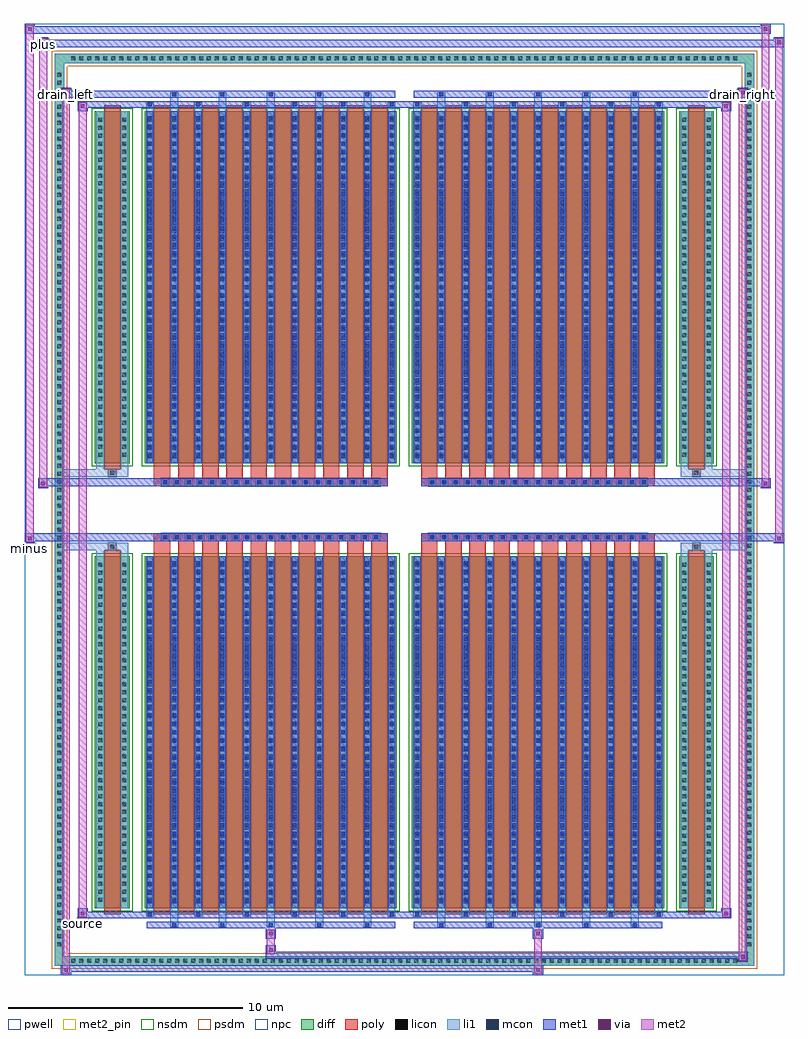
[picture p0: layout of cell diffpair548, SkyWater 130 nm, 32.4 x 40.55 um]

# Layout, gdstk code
import gdstk
lib = gdstk.Library(unit=1e-6, precision=5e-09)
def R(c, l, rs):  # rectangles x0, y0, x1, y1
    for r in rs: c.add(gdstk.rectangle(r[:2], r[2:], *l))
def A(c, l, x, y, w, h, nx, ny, dx, dy):  # array of equal rectangles
    R(c, l, [(x+i*dx, y+j*dy, x+i*dx+w, y+j*dy+h) for i in range(nx) for j in range(ny)])
def P(c, l, *ps):  # polygons
    for p in ps: c.add(gdstk.Polygon(p, *l))
pwell = (64, 44)
diff = (65, 20)
poly = (66, 20)
licon = (66, 44)
li1 = (67, 20)
mcon = (67, 44)
met1 = (68, 20)
via = (68, 44)
met2_pin = (69, 16)
met2 = (69, 20)
nsdm = (93, 44)
psdm = (94, 20)
npc = (95, 20)

diffpair548 = lib.new_cell('diffpair548')
R(diffpair548, pwell, [(-16.18,-19.84,16.18,20.71), (-13.5,-18.03,-0.01,-0.805), (0.01,-18.03,13.5,-0.805), (-13.5,0.805,-0.01,18.03), (0.01,0.805,13.5,18.03)])
A(diffpair548, diff, -14.315, -19.44, 0.41, 0.41, 84, 2, 0.34, 38.47)
A(diffpair548, diff, -14.91, -18.735, 0.41, 0.41, 1, 110, 0, 0.34)
A(diffpair548, diff, 14.5, -18.735, 0.41, 0.41, 1, 110, 0, 0.34)
R(diffpair548, diff, [(-14.315,-19.44,14.315,-19.03), (-14.91,-18.735,-14.5,18.735), (14.5,-18.735,14.91,18.735), (-13.19,-16.985,-11.71,-1.985), (-11.07,-16.985,-0.32,-1.985), (0.32,-16.985,11.07,-1.985), (11.71,-16.985,13.19,-1.985), (-13.19,1.985,-11.71,16.985), (-11.07,1.985,-0.32,16.985), (0.32,1.985,11.07,16.985), (11.71,1.985,13.19,16.985), (-14.315,19.03,14.315,19.44)])
P(diffpair548, diff, [(14.91,19.44),(-14.91,19.44),(-14.91,-19.03),(-14.5,-19.03),(-14.5,19.03),(14.5,19.03),(14.5,-19.03),(-14.5,-19.03),(-14.91,-19.03),(-14.91,-19.44),(14.91,-19.44)])
A(diffpair548, poly, -10.68, -17.235, 0.7, 15.5, 10, 2, 1.03, 18.97)
A(diffpair548, poly, 0.71, -17.235, 0.7, 15.5, 10, 2, 1.03, 18.97)
A(diffpair548, poly, -10.68, -1.735, 0.7, 0.4, 10, 2, 1.03, 3.07)
A(diffpair548, poly, 0.71, -1.735, 0.7, 0.4, 10, 2, 1.03, 3.07)
A(diffpair548, poly, -10.36, -1.335, 0.33, 0.33, 19, 2, 0.5, 2.34)
A(diffpair548, poly, 1.03, -1.335, 0.33, 0.33, 19, 2, 0.5, 2.34)
R(diffpair548, poly, [(-12.8,-17.235,-12.1,-1.735), (12.1,-17.235,12.8,-1.735), (-12.615,-1.735,-12.285,-1.405), (-12.615,-1.735,-12.285,-1.405), (12.285,-1.735,12.615,-1.405), (12.285,-1.735,12.615,-1.405), (-10.68,-1.335,-0.71,-1.005), (0.71,-1.335,10.68,-1.005), (-10.68,1.005,-0.71,1.335), (0.71,1.005,10.68,1.335), (-12.615,1.405,-12.285,1.735), (-12.615,1.405,-12.285,1.735), (12.285,1.405,12.615,1.735), (12.285,1.405,12.615,1.735), (-12.8,1.735,-12.1,17.235), (12.1,1.735,12.8,17.235)])
A(diffpair548, licon, -14.195, -19.32, 0.17, 0.17, 84, 2, 0.34, 38.47)
A(diffpair548, licon, -14.79, -18.615, 0.17, 0.17, 1, 110, 0, 0.34)
A(diffpair548, licon, 14.62, -18.615, 0.17, 0.17, 1, 110, 0, 0.34)
A(diffpair548, licon, -13.05, -16.71, 0.17, 0.17, 1, 43, 0, 0.34)
A(diffpair548, licon, -12.02, -16.71, 0.17, 0.17, 1, 43, 0, 0.34)
A(diffpair548, licon, -10.93, -16.71, 0.17, 0.17, 11, 43, 1.03, 0.34)
A(diffpair548, licon, 0.46, -16.71, 0.17, 0.17, 11, 43, 1.03, 0.34)
A(diffpair548, licon, 11.85, -16.71, 0.17, 0.17, 1, 43, 0, 0.34)
A(diffpair548, licon, 12.88, -16.71, 0.17, 0.17, 1, 43, 0, 0.34)
A(diffpair548, licon, -10.28, -1.255, 0.17, 0.17, 19, 2, 0.5, 2.34)
A(diffpair548, licon, 1.11, -1.255, 0.17, 0.17, 19, 2, 0.5, 2.34)
A(diffpair548, licon, -13.05, 2.26, 0.17, 0.17, 1, 43, 0, 0.34)
A(diffpair548, licon, -12.02, 2.26, 0.17, 0.17, 1, 43, 0, 0.34)
A(diffpair548, licon, -10.93, 2.26, 0.17, 0.17, 11, 43, 1.03, 0.34)
A(diffpair548, licon, 0.46, 2.26, 0.17, 0.17, 11, 43, 1.03, 0.34)
A(diffpair548, licon, 11.85, 2.26, 0.17, 0.17, 1, 43, 0, 0.34)
A(diffpair548, licon, 12.88, 2.26, 0.17, 0.17, 1, 43, 0, 0.34)
R(diffpair548, licon, [(-12.535,-1.655,-12.365,-1.485), (12.365,-1.655,12.535,-1.485), (-12.535,1.485,-12.365,1.655), (12.365,1.485,12.535,1.655)])
A(diffpair548, li1, -14.275, -19.4, 0.33, 0.33, 84, 2, 0.34, 38.47)
A(diffpair548, li1, -14.87, -18.695, 0.33, 0.33, 1, 110, 0, 0.34)
A(diffpair548, li1, 14.54, -18.695, 0.33, 0.33, 1, 110, 0, 0.34)
A(diffpair548, li1, -9.98, -17.79, 0.33, 0.805, 5, 2, 2.06, 34.775)
A(diffpair548, li1, -9.9, -17.79, 0.17, 0.17, 5, 2, 2.06, 35.41)
A(diffpair548, li1, 1.41, -17.79, 0.33, 0.805, 5, 2, 2.06, 34.775)
A(diffpair548, li1, 1.49, -17.79, 0.17, 0.17, 5, 2, 2.06, 35.41)
A(diffpair548, li1, -11.01, -17.36, 0.33, 0.375, 6, 2, 2.06, 34.345)
A(diffpair548, li1, -10.93, -17.36, 0.17, 0.17, 6, 2, 2.06, 34.55)
A(diffpair548, li1, 0.38, -17.36, 0.33, 0.375, 6, 2, 2.06, 34.345)
A(diffpair548, li1, 0.46, -17.36, 0.17, 0.17, 6, 2, 2.06, 34.55)
A(diffpair548, li1, -11.01, -16.985, 0.33, 15, 11, 2, 1.03, 18.97)
A(diffpair548, li1, 0.38, -16.985, 0.33, 15, 11, 2, 1.03, 18.97)
A(diffpair548, li1, -13.13, -16.79, 0.33, 0.33, 1, 43, 0, 0.34)
A(diffpair548, li1, -12.1, -16.79, 0.33, 0.33, 1, 43, 0, 0.34)
A(diffpair548, li1, -11.01, -16.79, 0.33, 0.33, 11, 43, 1.03, 0.34)
A(diffpair548, li1, 0.38, -16.79, 0.33, 0.33, 11, 43, 1.03, 0.34)
A(diffpair548, li1, 11.77, -16.79, 0.33, 0.33, 1, 43, 0, 0.34)
A(diffpair548, li1, 12.8, -16.79, 0.33, 0.33, 1, 43, 0, 0.34)
A(diffpair548, li1, -10.93, -16.77, 0.17, 0.17, 11, 41, 1.03, 0.36)
A(diffpair548, li1, -10.93, -16.77, 0.17, 14.57, 11, 2, 1.03, 18.97)
A(diffpair548, li1, 0.46, -16.77, 0.17, 0.17, 11, 41, 1.03, 0.36)
A(diffpair548, li1, 0.46, -16.77, 0.17, 14.57, 11, 2, 1.03, 18.97)
A(diffpair548, li1, -10.36, -1.335, 0.33, 0.33, 19, 2, 0.5, 2.34)
A(diffpair548, li1, 1.03, -1.335, 0.33, 0.33, 19, 2, 0.5, 2.34)
A(diffpair548, li1, -13.13, 2.18, 0.33, 0.33, 1, 43, 0, 0.34)
A(diffpair548, li1, -12.1, 2.18, 0.33, 0.33, 1, 43, 0, 0.34)
A(diffpair548, li1, -11.01, 2.18, 0.33, 0.33, 11, 43, 1.03, 0.34)
A(diffpair548, li1, 0.38, 2.18, 0.33, 0.33, 11, 43, 1.03, 0.34)
A(diffpair548, li1, 11.77, 2.18, 0.33, 0.33, 1, 43, 0, 0.34)
A(diffpair548, li1, 12.8, 2.18, 0.33, 0.33, 1, 43, 0, 0.34)
A(diffpair548, li1, -10.93, 2.2, 0.17, 0.17, 11, 41, 1.03, 0.36)
A(diffpair548, li1, 0.46, 2.2, 0.17, 0.17, 11, 41, 1.03, 0.36)
R(diffpair548, li1, [(-14.91,-19.44,-14.5,-19.03), (-14.91,-19.44,-14.5,-19.03), (-14.5,-19.44,14.5,-19.03), (14.5,-19.44,14.91,-19.03), (14.5,-19.44,14.91,-19.03), (-14.91,-19.03,-14.5,19.03), (14.5,-19.03,14.91,19.03), (-13.13,-16.985,-12.8,-1.985), (-12.1,-16.985,-11.77,-1.985), (11.77,-16.985,12.1,-1.985), (12.8,-16.985,13.13,-1.985), (-13.13,-1.985,-12.8,-1.405), (-12.1,-1.985,-11.77,-1.405), (11.77,-1.985,12.1,-1.405), (12.8,-1.985,13.13,-1.405), (-14.91,-1.735,-12.615,-1.405), (-13.13,-1.735,-12.615,-1.405), (-12.615,-1.735,-12.285,-1.405), (-12.285,-1.735,-11.77,-1.405), (11.77,-1.735,12.285,-1.405), (12.285,-1.735,12.615,-1.405), (12.285,-1.735,14.91,-1.405), (12.615,-1.735,13.13,-1.405), (-14.91,1.405,-12.615,1.735), (-13.13,1.405,-12.615,1.735), (-13.13,1.405,-12.8,1.985), (-12.615,1.405,-12.285,1.735), (-12.285,1.405,-11.77,1.735), (-12.1,1.405,-11.77,1.985), (11.77,1.405,12.285,1.735), (11.77,1.405,12.1,1.985), (12.285,1.405,12.615,1.735), (12.285,1.405,14.91,1.735), (12.615,1.405,13.13,1.735), (12.8,1.405,13.13,1.985), (-13.13,1.985,-12.8,16.985), (-12.1,1.985,-11.77,16.985), (11.77,1.985,12.1,16.985), (12.8,1.985,13.13,16.985), (-14.91,19.03,-14.5,19.44), (-14.91,19.03,-14.5,19.44), (-14.5,19.03,14.5,19.44), (14.5,19.03,14.91,19.44), (14.5,19.03,14.91,19.44)])
A(diffpair548, mcon, -9.9, -17.79, 0.17, 0.17, 5, 2, 2.06, 35.41)
A(diffpair548, mcon, 1.49, -17.79, 0.17, 0.17, 5, 2, 2.06, 35.41)
A(diffpair548, mcon, -10.93, -17.36, 0.17, 0.17, 6, 2, 2.06, 34.55)
A(diffpair548, mcon, 0.46, -17.36, 0.17, 0.17, 6, 2, 2.06, 34.55)
A(diffpair548, mcon, -10.93, -16.77, 0.17, 0.17, 11, 41, 1.03, 0.36)
A(diffpair548, mcon, 0.46, -16.77, 0.17, 0.17, 11, 41, 1.03, 0.36)
A(diffpair548, mcon, -10.28, -1.255, 0.17, 0.17, 19, 2, 0.5, 2.34)
A(diffpair548, mcon, 1.11, -1.255, 0.17, 0.17, 19, 2, 0.5, 2.34)
A(diffpair548, mcon, -10.93, 2.2, 0.17, 0.17, 11, 41, 1.03, 0.36)
A(diffpair548, mcon, 0.46, 2.2, 0.17, 0.17, 11, 41, 1.03, 0.36)
A(diffpair548, met1, -9.96, -17.85, 0.29, 0.29, 5, 2, 2.06, 35.41)
A(diffpair548, met1, 1.43, -17.85, 0.29, 0.29, 5, 2, 2.06, 35.41)
A(diffpair548, met1, -10.99, -17.42, 0.29, 0.29, 6, 2, 2.06, 34.55)
A(diffpair548, met1, 0.4, -17.42, 0.29, 0.29, 6, 2, 2.06, 34.55)
A(diffpair548, met1, -10.99, -16.985, 0.29, 15, 11, 2, 1.03, 18.97)
A(diffpair548, met1, 0.4, -16.985, 0.29, 15, 11, 2, 1.03, 18.97)
A(diffpair548, met1, -10.99, -16.83, 0.29, 0.29, 11, 41, 1.03, 0.36)
A(diffpair548, met1, 0.4, -16.83, 0.29, 0.29, 11, 41, 1.03, 0.36)
A(diffpair548, met1, -10.34, -1.315, 0.29, 0.29, 19, 2, 0.5, 2.34)
A(diffpair548, met1, 1.05, -1.315, 0.29, 0.29, 19, 2, 0.5, 2.34)
A(diffpair548, met1, -10.99, 2.14, 0.29, 0.29, 11, 41, 1.03, 0.36)
A(diffpair548, met1, 0.4, 2.14, 0.29, 0.29, 11, 41, 1.03, 0.36)
R(diffpair548, met1, [(-14.64,-19.84,-14.21,-19.41), (5.48,-19.84,5.91,-19.41), (-14.64,-19.7,5.91,-19.41), (14.21,-19.27,14.64,-18.84), (-5.91,-19.13,14.64,-18.84), (-5.91,-18.99,-5.48,-18.56), (-5.91,-18.28,-5.48,-17.85), (5.48,-18.28,5.91,-17.85), (-10.99,-17.85,-0.4,-17.56), (0.4,-17.85,10.99,-17.56), (-13.93,-17.42,-13.5,-16.99), (-13.93,-17.42,-10.99,-17.13), (-10.99,-17.42,-0.4,-17.13), (-0.4,-17.42,0.4,-17.13), (0.4,-17.42,10.99,-17.13), (10.99,-17.42,13.93,-17.13), (13.5,-17.42,13.93,-16.99), (-16.18,-1.435,-15.75,-1.005), (15.75,-1.435,16.18,-1.005), (-16.18,-1.335,-0.71,-1.005), (-10.68,-1.335,-0.71,-1.005), (0.71,-1.335,10.68,-1.005), (0.71,-1.335,16.18,-1.005), (-15.61,0.905,-15.18,1.335), (15.18,0.905,15.61,1.335), (-15.61,1.005,-10.68,1.335), (-10.68,1.005,-0.71,1.335), (0.71,1.005,10.68,1.335), (10.68,1.005,15.61,1.335), (-13.93,16.99,-13.5,17.42), (13.5,16.99,13.93,17.42), (-13.93,17.13,-10.99,17.42), (-10.99,17.13,-0.4,17.42), (-0.4,17.13,0.4,17.42), (0.4,17.13,10.99,17.42), (10.99,17.13,13.93,17.42), (-14.64,17.56,-14.21,17.99), (-14.64,17.56,-10.99,17.85), (-10.99,17.56,-0.4,17.85), (0.4,17.56,10.99,17.85), (10.99,17.56,14.64,17.85), (14.21,17.56,14.64,17.99), (-15.61,19.71,-15.18,20.14), (-15.61,19.71,-13.5,20.04), (-13.5,19.71,13.5,20.04), (13.5,19.71,16.18,20.04), (15.75,19.71,16.18,20.14), (-16.18,20.28,-15.75,20.71), (-16.18,20.28,-13.5,20.61), (-13.5,20.28,13.5,20.61), (13.5,20.28,15.61,20.61), (15.18,20.28,15.61,20.71)])
R(diffpair548, via, [(-14.5,-19.7,-14.35,-19.55), (5.62,-19.7,5.77,-19.55), (14.35,-19.13,14.5,-18.98), (-5.77,-18.85,-5.62,-18.7), (-5.77,-18.14,-5.62,-17.99), (5.62,-18.14,5.77,-17.99), (-13.79,-17.28,-13.64,-17.13), (13.64,-17.28,13.79,-17.13), (-16.04,-1.295,-15.89,-1.145), (15.89,-1.295,16.04,-1.145), (-15.47,1.045,-15.32,1.195), (15.32,1.045,15.47,1.195), (-13.79,17.13,-13.64,17.28), (13.64,17.13,13.79,17.28), (-14.5,17.7,-14.35,17.85), (14.35,17.7,14.5,17.85), (-15.47,19.85,-15.32,20), (15.89,19.85,16.04,20), (-16.04,20.42,-15.89,20.57), (15.32,20.42,15.47,20.57)])
R(diffpair548, met2_pin, [(-13.965,-17.87,-13.465,-17.37), (-16.215,-1.885,-15.715,-1.385), (-14.675,17.44,-14.175,17.94), (14.175,17.44,14.675,17.94), (-15.645,19.59,-15.145,20.09)])
R(diffpair548, met2, [(-14.59,-19.79,-14.26,-19.46), (-14.59,-19.79,-14.26,17.94), (5.53,-19.79,5.86,-19.46), (5.53,-19.46,5.86,-18.23), (14.26,-19.22,14.59,-18.89), (14.26,-19.22,14.59,17.94), (-5.86,-18.94,-5.53,-18.61), (-5.86,-18.61,-5.53,-18.23), (-5.86,-18.23,-5.53,-17.9), (5.53,-18.23,5.86,-17.9), (-13.88,-17.37,-13.55,-17.04), (-13.88,-17.37,-13.55,17.37), (13.55,-17.37,13.88,-17.04), (13.55,-17.37,13.88,17.37), (-16.13,-1.385,-15.8,-1.055), (-16.13,-1.385,-15.8,20.66), (15.8,-1.385,16.13,-1.055), (15.8,-1.385,16.13,20.09), (-15.56,0.955,-15.23,1.285), (-15.56,0.955,-15.23,20.09), (15.23,0.955,15.56,1.285), (15.23,0.955,15.56,20.66), (-13.88,17.04,-13.55,17.37), (13.55,17.04,13.88,17.37), (-14.59,17.61,-14.26,17.94), (14.26,17.61,14.59,17.94), (-15.56,19.76,-15.23,20.09), (15.8,19.76,16.13,20.09), (-16.13,20.33,-15.8,20.66), (15.23,20.33,15.56,20.66)])
P(diffpair548, met2, [(16.13,-1.385),(16.13,-1.385),(16.13,-1.055),(16.13,-1.055)],
  [(16.13,19.76),(16.13,19.76),(16.13,20.09),(16.13,20.09)],
  [(-15.8,-1.385),(-15.8,-1.385),(-15.8,-1.055),(-15.8,-1.055)],
  [(-15.8,20.33),(-15.8,20.33),(-15.8,20.66),(-15.8,20.66)],
  [(15.56,0.955),(15.56,0.955),(15.56,1.285),(15.56,1.285)],
  [(15.56,20.33),(15.56,20.33),(15.56,20.66),(15.56,20.66)],
  [(-15.23,0.955),(-15.23,0.955),(-15.23,1.285),(-15.23,1.285)],
  [(-15.23,19.76),(-15.23,19.76),(-15.23,20.09),(-15.23,20.09)],
  [(-14.26,-19.79),(-14.26,-19.79),(-14.26,-19.46),(-14.26,-19.46)],
  [(-14.26,17.61),(-14.26,17.61),(-14.26,17.94),(-14.26,17.94)],
  [(14.59,-19.22),(14.59,-19.22),(14.59,-18.89),(14.59,-18.89)],
  [(14.59,17.61),(14.59,17.61),(14.59,17.94),(14.59,17.94)],
  [(-13.55,-17.37),(-13.55,-17.37),(-13.55,-17.04),(-13.55,-17.04)],
  [(-13.55,17.04),(-13.55,17.04),(-13.55,17.37),(-13.55,17.37)],
  [(13.88,-17.37),(13.88,-17.37),(13.88,-17.04),(13.88,-17.04)],
  [(13.88,17.04),(13.88,17.04),(13.88,17.37),(13.88,17.37)])
R(diffpair548, nsdm, [(-13.32,-17.115,-11.58,-1.855), (-11.2,-17.115,-0.19,-1.855), (0.19,-17.115,11.2,-1.855), (11.58,-17.115,13.32,-1.855), (-13.32,1.855,-11.58,17.115), (-11.2,1.855,-0.19,17.115), (0.19,1.855,11.2,17.115), (11.58,1.855,13.32,17.115)])
P(diffpair548, psdm, [(15.04,19.57),(-15.04,19.57),(-15.04,-18.9),(-14.37,-18.9),(-14.37,18.9),(14.37,18.9),(14.37,-18.9),(-14.37,-18.9),(-15.04,-18.9),(-15.04,-19.57),(15.04,-19.57)])
A(diffpair548, npc, -10.38, -1.355, 0.37, 0.37, 19, 2, 0.5, 2.34)
A(diffpair548, npc, 1.01, -1.355, 0.37, 0.37, 19, 2, 0.5, 2.34)
R(diffpair548, npc, [(-12.635,-1.755,-12.265,-1.385), (12.265,-1.755,12.635,-1.385), (-10.38,-1.355,-9.51,-0.985), (-10.38,-1.355,-9.51,-0.985), (-9.88,-1.355,-9.01,-0.985), (-9.88,-1.355,-9.01,-0.985), (-9.38,-1.355,-8.51,-0.985), (-9.38,-1.355,-8.51,-0.985), (-8.88,-1.355,-8.01,-0.985), (-8.88,-1.355,-8.01,-0.985), (-8.38,-1.355,-7.51,-0.985), (-8.38,-1.355,-7.51,-0.985), (-7.88,-1.355,-7.01,-0.985), (-7.88,-1.355,-7.01,-0.985), (-7.38,-1.355,-6.51,-0.985), (-7.38,-1.355,-6.51,-0.985), (-6.88,-1.355,-6.01,-0.985), (-6.88,-1.355,-6.01,-0.985), (-6.38,-1.355,-5.51,-0.985), (-6.38,-1.355,-5.51,-0.985), (-5.88,-1.355,-5.01,-0.985), (-5.88,-1.355,-5.01,-0.985), (-5.38,-1.355,-4.51,-0.985), (-5.38,-1.355,-4.51,-0.985), (-4.88,-1.355,-4.01,-0.985), (-4.88,-1.355,-4.01,-0.985), (-4.38,-1.355,-3.51,-0.985), (-4.38,-1.355,-3.51,-0.985), (-3.88,-1.355,-3.01,-0.985), (-3.88,-1.355,-3.01,-0.985), (-3.38,-1.355,-2.51,-0.985), (-3.38,-1.355,-2.51,-0.985), (-2.88,-1.355,-2.01,-0.985), (-2.88,-1.355,-2.01,-0.985), (-2.38,-1.355,-1.51,-0.985), (-2.38,-1.355,-1.51,-0.985), (-1.88,-1.355,-1.01,-0.985), (-1.88,-1.355,-1.01,-0.985), (1.01,-1.355,1.88,-0.985), (1.01,-1.355,1.88,-0.985), (1.51,-1.355,2.38,-0.985), (1.51,-1.355,2.38,-0.985), (2.01,-1.355,2.88,-0.985), (2.01,-1.355,2.88,-0.985), (2.51,-1.355,3.38,-0.985), (2.51,-1.355,3.38,-0.985), (3.01,-1.355,3.88,-0.985), (3.01,-1.355,3.88,-0.985), (3.51,-1.355,4.38,-0.985), (3.51,-1.355,4.38,-0.985), (4.01,-1.355,4.88,-0.985), (4.01,-1.355,4.88,-0.985), (4.51,-1.355,5.38,-0.985), (4.51,-1.355,5.38,-0.985), (5.01,-1.355,5.88,-0.985), (5.01,-1.355,5.88,-0.985), (5.51,-1.355,6.38,-0.985), (5.51,-1.355,6.38,-0.985), (6.01,-1.355,6.88,-0.985), (6.01,-1.355,6.88,-0.985), (6.51,-1.355,7.38,-0.985), (6.51,-1.355,7.38,-0.985), (7.01,-1.355,7.88,-0.985), (7.01,-1.355,7.88,-0.985), (7.51,-1.355,8.38,-0.985), (7.51,-1.355,8.38,-0.985), (8.01,-1.355,8.88,-0.985), (8.01,-1.355,8.88,-0.985), (8.51,-1.355,9.38,-0.985), (8.51,-1.355,9.38,-0.985), (9.01,-1.355,9.88,-0.985), (9.01,-1.355,9.88,-0.985), (9.51,-1.355,10.38,-0.985), (9.51,-1.355,10.38,-0.985), (-10.38,0.985,-9.51,1.355), (-10.38,0.985,-9.51,1.355), (-9.88,0.985,-9.01,1.355), (-9.88,0.985,-9.01,1.355), (-9.38,0.985,-8.51,1.355), (-9.38,0.985,-8.51,1.355), (-8.88,0.985,-8.01,1.355), (-8.88,0.985,-8.01,1.355), (-8.38,0.985,-7.51,1.355), (-8.38,0.985,-7.51,1.355), (-7.88,0.985,-7.01,1.355), (-7.88,0.985,-7.01,1.355), (-7.38,0.985,-6.51,1.355), (-7.38,0.985,-6.51,1.355), (-6.88,0.985,-6.01,1.355), (-6.88,0.985,-6.01,1.355), (-6.38,0.985,-5.51,1.355), (-6.38,0.985,-5.51,1.355), (-5.88,0.985,-5.01,1.355), (-5.88,0.985,-5.01,1.355), (-5.38,0.985,-4.51,1.355), (-5.38,0.985,-4.51,1.355), (-4.88,0.985,-4.01,1.355), (-4.88,0.985,-4.01,1.355), (-4.38,0.985,-3.51,1.355), (-4.38,0.985,-3.51,1.355), (-3.88,0.985,-3.01,1.355), (-3.88,0.985,-3.01,1.355), (-3.38,0.985,-2.51,1.355), (-3.38,0.985,-2.51,1.355), (-2.88,0.985,-2.01,1.355), (-2.88,0.985,-2.01,1.355), (-2.38,0.985,-1.51,1.355), (-2.38,0.985,-1.51,1.355), (-1.88,0.985,-1.01,1.355), (-1.88,0.985,-1.01,1.355), (1.01,0.985,1.88,1.355), (1.01,0.985,1.88,1.355), (1.51,0.985,2.38,1.355), (1.51,0.985,2.38,1.355), (2.01,0.985,2.88,1.355), (2.01,0.985,2.88,1.355), (2.51,0.985,3.38,1.355), (2.51,0.985,3.38,1.355), (3.01,0.985,3.88,1.355), (3.01,0.985,3.88,1.355), (3.51,0.985,4.38,1.355), (3.51,0.985,4.38,1.355), (4.01,0.985,4.88,1.355), (4.01,0.985,4.88,1.355), (4.51,0.985,5.38,1.355), (4.51,0.985,5.38,1.355), (5.01,0.985,5.88,1.355), (5.01,0.985,5.88,1.355), (5.51,0.985,6.38,1.355), (5.51,0.985,6.38,1.355), (6.01,0.985,6.88,1.355), (6.01,0.985,6.88,1.355), (6.51,0.985,7.38,1.355), (6.51,0.985,7.38,1.355), (7.01,0.985,7.88,1.355), (7.01,0.985,7.88,1.355), (7.51,0.985,8.38,1.355), (7.51,0.985,8.38,1.355), (8.01,0.985,8.88,1.355), (8.01,0.985,8.88,1.355), (8.51,0.985,9.38,1.355), (8.51,0.985,9.38,1.355), (9.01,0.985,9.88,1.355), (9.01,0.985,9.88,1.355), (9.51,0.985,10.38,1.355), (9.51,0.985,10.38,1.355), (-12.635,1.385,-12.265,1.755), (12.265,1.385,12.635,1.755)])
diffpair548.add(gdstk.Label('minus', (-15.965,-1.635), layer=69, texttype=5))
diffpair548.add(gdstk.Label('drain_right', (14.425,17.69), layer=69, texttype=5))
diffpair548.add(gdstk.Label('drain_left', (-14.425,17.69), layer=69, texttype=5))
diffpair548.add(gdstk.Label('source', (-13.715,-17.62), layer=69, texttype=5))
diffpair548.add(gdstk.Label('plus', (-15.395,19.84), layer=69, texttype=5))

lib.write_gds('diffpair548.gds')
